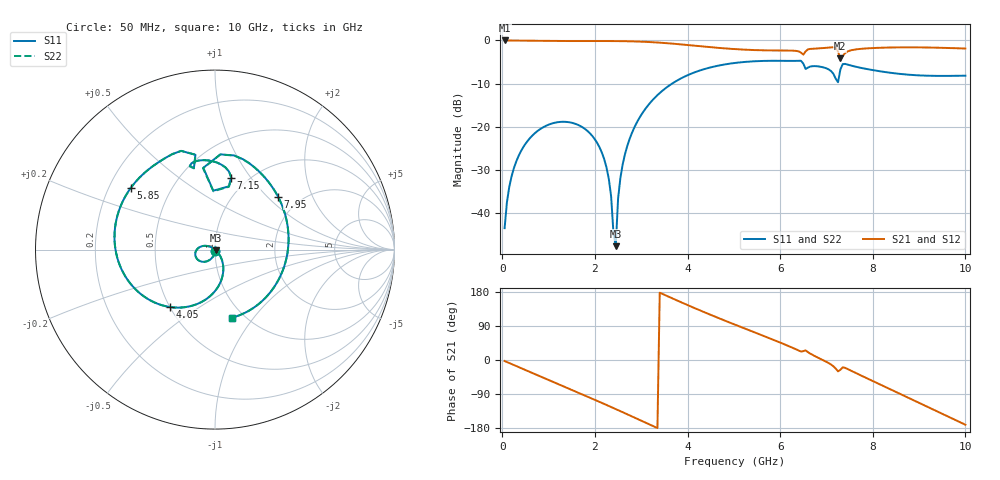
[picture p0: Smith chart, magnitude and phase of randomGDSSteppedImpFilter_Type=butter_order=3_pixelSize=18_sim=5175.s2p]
! freq	dB(S11)	phase(S11)	dB(S12)	phase(S12)
!  dB(S21)	phase(S21)	dB(S22)	phase(S22)
!S-par simulation data
#  GHz  S  DB  R 50
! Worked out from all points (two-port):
!   200 points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, 50 MHz to 10 GHz, reference 50 ohm
!   highest |S21| = -0.01 dB at 50 MHz (marker M1); lowest = -4.2 dB at 7.3 GHz (marker M2)
!   |S21| within 3 dB of the highest: start of sweep to 6.47 GHz; 7.397 GHz to end of sweep (the widest 2 of 3)
!   lowest |S11| = -47.6 dB at 2.45 GHz (marker M3), VSWR 1.01, Z = 50.3 - j0.283 ohm
!   |S11| at or under -10 dB: start of sweep to 3.665 GHz
!   |S22| runs from -47.6 to -4.7 dB; largest |S21 - S12| = 0
!   S11 on the Smith chart (normalised r, x): 50 MHz: 1.00, -0.01; 4.05 GHz: 0.50, -0.38; 5.85 GHz: 0.29, +0.30; 7.15 GHz: 0.84, +0.81; 7.95 GHz: 1.55, +1.16; 10 GHz: 0.88, -0.79
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0.05  -43.44 -92.1  -0.01 -2.7  -0.01 -2.7  -43.44 -92.1
0.2  -31.47 -100.6  -0.02 -10.6  -0.02 -10.6  -31.47 -100.6
0.55  -23.21 -119.4  -0.05 -29.1  -0.05 -29.1  -23.21 -119.5
1.15  -19.01 -151.2  -0.12 -60.5  -0.12 -60.5  -19.01 -151.2
1.75  -20.22 177.3  -0.14 -91.9  -0.14 -91.9  -20.22 177.2
2.25  -29.38 150.7  -0.14 -118.6  -0.14 -118.6  -29.38 150.5
2.45  -47.60 -42.5  -0.15 -129.5  -0.15 -129.5  -47.60 -40.5
2.5  -36.65 -43.7  -0.15 -132.3  -0.15 -132.3  -36.65 -43.2
2.55  -31.83 -46.2  -0.16 -135.0  -0.16 -135.0  -31.82 -45.9
2.7  -24.37 -54.3  -0.19 -143.3  -0.19 -143.3  -24.37 -54.2
3.4  -12.17 -93.1  -0.51 177.6  -0.51 177.6  -12.17 -93.1
4.05  -7.82 -128.1  -1.11 142.3  -1.11 142.3  -7.82 -128.1
5.05  -5.18 -177.9  -2.02 92.0  -2.02 92.0  -5.18 -177.9
5.85  -4.71 143.8  -2.32 53.4  -2.32 53.4  -4.71 143.8
6.7  -5.95 102.7  -1.92 13.4  -1.92 13.4  -5.95 102.6
7.15  -7.73 77.4  -1.56 -16.7  -1.56 -16.7  -7.74 77.1
7.3  -6.74 98.1  -4.17 -25.9  -4.17 -25.9  -6.78 98.4
7.5  -5.72 68.4  -2.38 -26.3  -2.38 -26.3  -5.72 68.5
7.95  -6.77 40.0  -1.79 -52.6  -1.79 -52.6  -6.77 40.1
8.35  -7.44 17.4  -1.64 -75.6  -1.64 -75.6  -7.44 17.4
9.1  -8.14 -24.8  -1.62 -118.9  -1.62 -118.9  -8.13 -24.8
10  -8.16 -75.9  -1.87 -170.8  -1.87 -170.8  -8.16 -75.9
